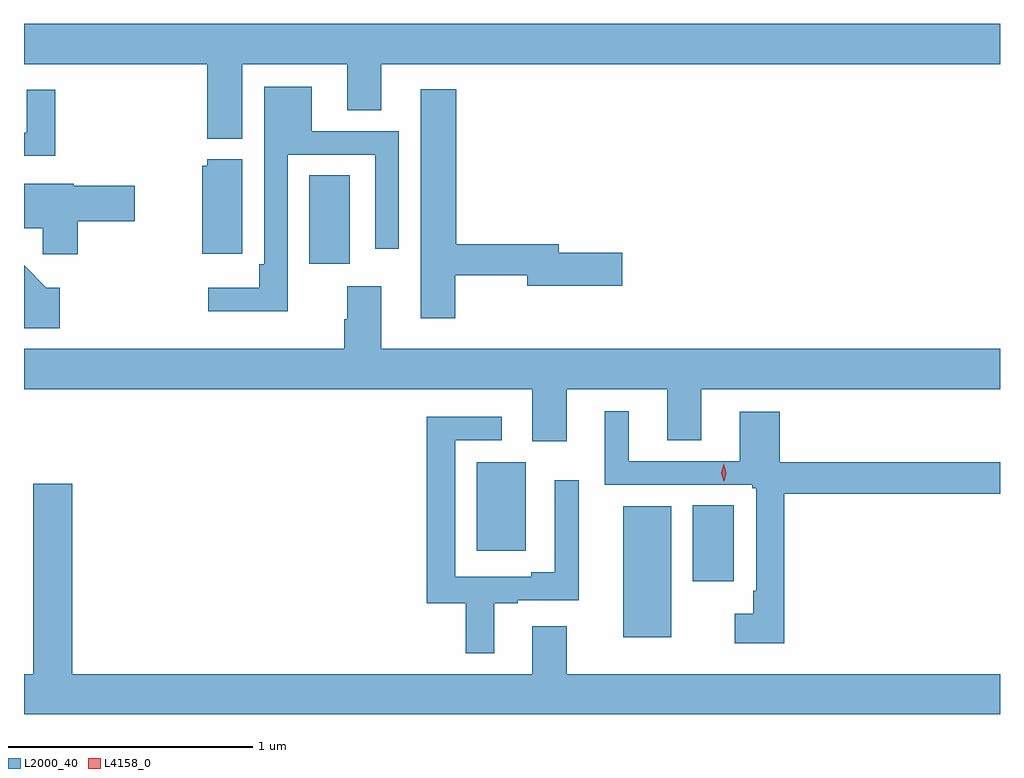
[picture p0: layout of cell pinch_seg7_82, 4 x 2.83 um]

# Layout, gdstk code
import gdstk
lib = gdstk.Library(unit=1e-6, precision=1e-09)
def R(c, l, rs):  # rectangles x0, y0, x1, y1
    for r in rs: c.add(gdstk.rectangle(r[:2], r[2:], *l))
def P(c, l, *ps):  # polygons
    for p in ps: c.add(gdstk.Polygon(p, *l))
L2000_40 = (2000, 40)
L4158_0 = (4158, 0)

pinch_seg7_82 = lib.new_cell('pinch_seg7_82')
R(pinch_seg7_82, L2000_40, [(915.653,1074.191,915.85,1074.727), (915.938,1074.42,916.105,1074.731), (915.053,1074.545,915.253,1074.907), (914.366,1075.722,914.533,1076.084)])
P(pinch_seg7_82, L2000_40, [(914.092,1076.54),(914.522,1076.54),(914.522,1076.35),(914.662,1076.35),(914.662,1076.54),(917.197,1076.54),(917.197,1076.704),(913.197,1076.704),(913.197,1076.54),(913.949,1076.54),(913.949,1076.234),(914.092,1076.234)],
  [(914.277,1076.169),(914.637,1076.169),(914.637,1075.782),(914.733,1075.782),(914.733,1076.265),(914.377,1076.265),(914.377,1076.446),(914.181,1076.446),(914.181,1075.72),(914.161,1075.72),(914.161,1075.624),(913.953,1075.624),(913.953,1075.526),(914.277,1075.526)],
  [(914.964,1075.674),(915.26,1075.674),(915.26,1075.631),(915.649,1075.631),(915.649,1075.766),(915.388,1075.766),(915.388,1075.802),(914.969,1075.802),(914.969,1076.437),(914.822,1076.437),(914.822,1075.497),(914.964,1075.497)],
  [(913.325,1076.434),(913.208,1076.434),(913.208,1076.259),(913.197,1076.259),(913.197,1076.163),(913.325,1076.163)],
  [(914.092,1076.149),(913.947,1076.149),(913.947,1076.124),(913.928,1076.124),(913.928,1075.763),(914.092,1075.763)],
  [(913.418,1075.895),(913.651,1075.895),(913.651,1076.042),(913.401,1076.042),(913.401,1076.05),(913.197,1076.05),(913.197,1075.866),(913.273,1075.866),(913.273,1075.761),(913.418,1075.761)],
  [(913.343,1075.624),(913.289,1075.624),(913.197,1075.716),(913.197,1075.458),(913.343,1075.458)],
  [(915.421,1075.208),(915.833,1075.208),(915.833,1074.997),(915.973,1074.997),(915.973,1075.208),(917.197,1075.208),(917.197,1075.372),(914.662,1075.372),(914.662,1075.63),(914.522,1075.63),(914.522,1075.493),(914.51,1075.493),(914.51,1075.372),(913.197,1075.372),(913.197,1075.208),(915.281,1075.208),(915.281,1074.993),(915.421,1074.993)],
  [(916.313,1074.778),(917.197,1074.778),(917.197,1074.907),(916.294,1074.907),(916.294,1075.114),(916.13,1075.114),(916.13,1074.912),(915.676,1074.912),(915.676,1075.117),(915.578,1075.117),(915.578,1074.816),(916.182,1074.816),(916.182,1074.801),(916.197,1074.801),(916.197,1074.382),(916.185,1074.382),(916.185,1074.286),(916.11,1074.286),(916.11,1074.167),(916.313,1074.167)],
  [(915.124,1074.33),(915.22,1074.33),(915.22,1074.342),(915.47,1074.342),(915.47,1074.835),(915.372,1074.835),(915.372,1074.458),(915.275,1074.458),(915.275,1074.438),(914.964,1074.438),(914.964,1074.999),(915.154,1074.999),(915.154,1075.095),(914.848,1075.095),(914.848,1074.33),(915.007,1074.33),(915.007,1074.125),(915.124,1074.125)],
  [(917.197,1074.04),(915.421,1074.04),(915.421,1074.235),(915.281,1074.235),(915.281,1074.04),(913.394,1074.04),(913.394,1074.82),(913.234,1074.82),(913.234,1074.04),(913.197,1074.04),(913.197,1073.876),(917.197,1073.876)])
P(pinch_seg7_82, L4158_0, [(916.065,1074.829),(916.065,1074.829),(916.055,1074.864),(916.064,1074.9),(916.064,1074.901),(916.065,1074.9),(916.075,1074.865),(916.066,1074.829)])

lib.write_gds('pinch_seg7_82.gds')
